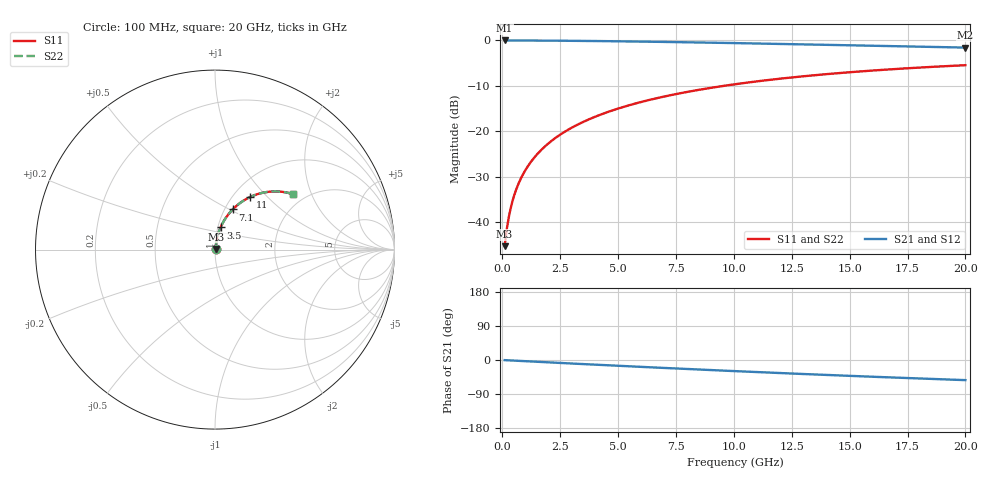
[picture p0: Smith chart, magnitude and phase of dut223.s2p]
! Touchstone file exported from HFSS 2026.1.0
!  File:  C:/ffzhzh/LocalFiles/Ansys_Project_Files/temp_train_BSMRDL_223_1782988087_45328.aedt
!  Generated:  06:29:31 PM Jul  2, 2026
!  Design:  BSMRDL
!  Project:  temp_train_BSMRDL_223_1782988087_45328
! Variables:
!  h_bsmrdl = 5.88um
!  h_ox = 20um
!  h_rdl = 5um
!  h_sub = 80um
!  h_tmrdl = 5um
!  h_tsv = 80um
!  h_via = 3um
!  l_bsmrdl = 782.14um
!  l_sub = 1182.14um
!  l_tmrdl = 200um
!  m_sub = 200um
!  pitch = 46.21um
!  r_tsv = 6um
!  s_tmrdl = 10um
!  w_bsmrdl = 12.14um
!  w_sub = 500um
!  w_tmrdl = 12um
!  x_tsv_center1 = 206um
!  x_tsv_center2 = 1000.28um
!  x_tsv_center3 = 1212.28um
!  x_tsv_center4 = 2006.56um
!  x_tsv_center5 = 2218.56um
!  x_tsv_center6 = 3012.84um
# GHz S MA R 50.000000
! Terminal data exported
! Port[1] = BSM_RDL1_1_T1
! Port[2] = BSM_RDL1_1_T2
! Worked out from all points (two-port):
!   200 points, 100 MHz to 20 GHz, reference 50 ohm
!   highest |S21| = -0.03 dB at 100 MHz (marker M1); lowest = -1.6 dB at 20 GHz (marker M2)
!   |S21| within 3 dB of the highest: start of sweep to end of sweep
!   lowest |S11| = -45.2 dB at 100 MHz (marker M3), VSWR 1.01, Z = 50.4 + j0.387 ohm
!   |S11| at or under -10 dB: start of sweep to 9.569 GHz
!   |S22| runs from -45.2 to -5.5 dB; largest |S21 - S12| = 8.9e-15
!   S11 on the Smith chart (normalised r, x): 100 MHz: 1.01, +0.01; 3.5 GHz: 1.03, +0.26; 7.1 GHz: 1.09, +0.52; 11 GHz: 1.20, +0.81; 20 GHz: 1.72, +1.49
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0.1  0.00549 44.4  0.9961 -0.3  0.9961 -0.3  0.00549 44.4
! Gamma 0 0 0 0
! Port Impedance 50 0 50 0
0.2  0.008655 61.9  0.996 -0.6  0.996 -0.6  0.008655 61.9
0.3  0.01216 69.3  0.9958 -1.0  0.9958 -1.0  0.01216 69.3
0.4  0.01574 73.3  0.9957 -1.3  0.9957 -1.3  0.01574 73.3
0.5  0.01936 75.6  0.9955 -1.6  0.9955 -1.6  0.01936 75.6
0.6  0.023 77.2  0.9954 -1.9  0.9954 -1.9  0.023 77.2
0.8  0.03031 78.9  0.9951 -2.5  0.9951 -2.5  0.03031 78.9
1.1  0.04129 80.0  0.9945 -3.5  0.9945 -3.5  0.04129 80.0
1.5  0.05592 80.2  0.9934 -4.7  0.9934 -4.7  0.05592 80.2
2.1  0.0777 79.3  0.9914 -6.5  0.9914 -6.5  0.0777 79.3
2.7  0.09917 78.0  0.9889 -8.4  0.9889 -8.4  0.09917 78.0
3.5  0.1272 76.0  0.9848 -10.8  0.9848 -10.8  0.1272 76.0
4.2  0.1512 74.1  0.9806 -12.9  0.9806 -12.9  0.1512 74.1
5  0.178 71.9  0.9753 -15.2  0.9753 -15.2  0.178 71.9
6.8  0.2354 67.0  0.9615 -20.4  0.9615 -20.4  0.2354 67.0
7.1  0.2446 66.2  0.959 -21.3  0.959 -21.3  0.2446 66.2
8.5  0.2862 62.5  0.9466 -25.2  0.9466 -25.2  0.2862 62.5
10.1  0.3306 58.4  0.9314 -29.5  0.9314 -29.5  0.3306 58.4
11  0.3542 56.1  0.9225 -31.9  0.9225 -31.9  0.3542 56.1
13.4  0.4118 50.2  0.8979 -38.0  0.8979 -38.0  0.4118 50.2
16.7  0.4789 42.5  0.8639 -45.8  0.8639 -45.8  0.4789 42.5
20  0.533 35.4  0.832 -53.1  0.832 -53.1  0.533 35.4
